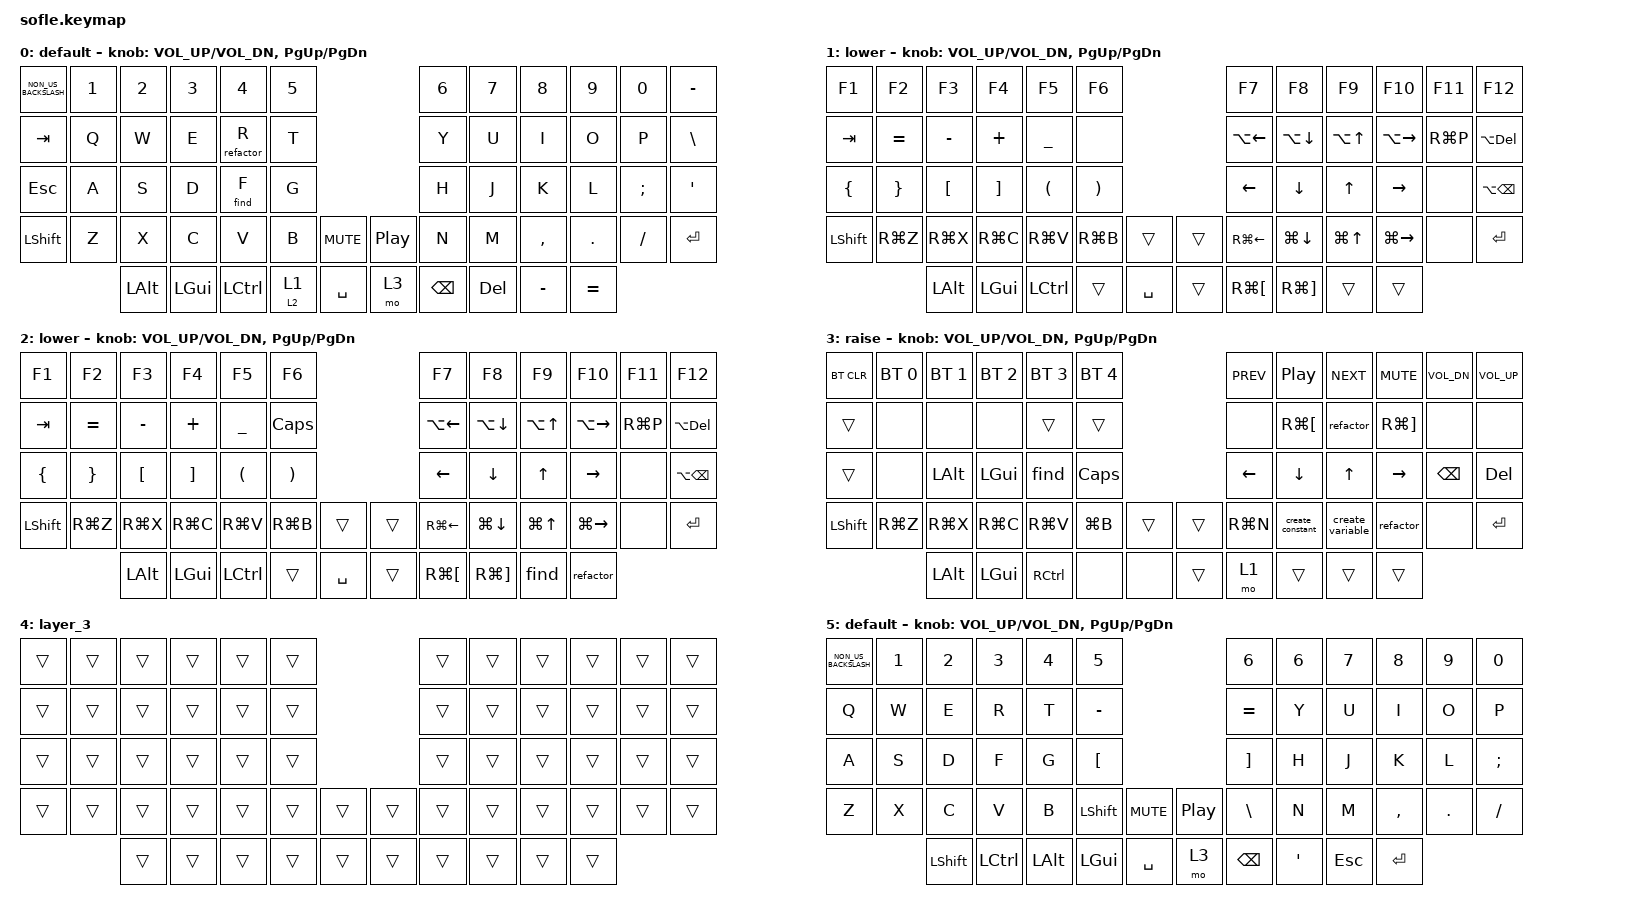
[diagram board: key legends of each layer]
/*
 * Copyright (c) 2020 The ZMK Contributors
 *
 * SPDX-License-Identifier: MIT
 */

#include <behaviors.dtsi>
#include <dt-bindings/zmk/bt.h>
#include <dt-bindings/zmk/keys.h>

#define BASE 0
#define LOWER 1
#define RAISE 2
#define ADJUST 3

/ {
    // Activate ADJUST layer by pressing raise and lower

    conditional_layers {
        compatible = "zmk,conditional-layers";

        adjust_layer {
            if-layers = <1 3>;
            then-layer = <4>;
        };
    };

    macros {
        refactor: refactor {
            compatible = "zmk,behavior-macro";
            #binding-cells = <0>;
            bindings = <&kp GLOBE &kp LS(F6)>;
            label = "REFACTOR";
        };

        find: find {
            compatible = "zmk,behavior-macro";
            #binding-cells = <0>;
            bindings = <&kp RIGHT_GUI &kp LEFT_SHIFT &kp F>;
            label = "FIND";
        };

        create_constant: create_constant {
            compatible = "zmk,behavior-macro";
            #binding-cells = <0>;
            bindings = <&kp LEFT_GUI &kp LEFT_ALT &kp C>;
            label = "CREATE_CONSTANT";
        };

        create_variable: create_variable {
            compatible = "zmk,behavior-macro";
            #binding-cells = <0>;
            bindings = <&kp LEFT_GUI &kp LEFT_ALT &kp V>;
            label = "CREATE_VARIABLE";
        };
    };

    behaviors {
        tap_or_hold: tap_or_hold {
            compatible = "zmk,behavior-hold-tap";
            label = "TAP_OR_HOLD";
            bindings = <&mo>, <&mo>;

            #binding-cells = <2>;
            hold-trigger-key-positions = <53>;
            tapping-term-ms = <2000>;
        };

        behavior_tap_hold_key: behavior_tap_hold_key {
            compatible = "zmk,behavior-hold-tap";
            label = "BEHAVIOR_TAP_HOLD_KEY";
            bindings = <&kp>, <&kp>;

            #binding-cells = <2>;
            tapping-term-ms = <2000>;
        };

        kp_and_refactor: kp_and_refactor {
            compatible = "zmk,behavior-hold-tap";
            label = "KP_AND_REFACTOR";
            bindings = <&refactor>, <&kp>;

            #binding-cells = <2>;
            hold-trigger-key-positions = <16>;
            tapping-term-ms = <2000>;
        };

        behavior_find: behavior_find {
            compatible = "zmk,behavior-hold-tap";
            label = "BEHAVIOR_FIND";
            bindings = <&find>, <&kp>;

            #binding-cells = <2>;
            hold-trigger-key-positions = <28>;
            tapping-term-ms = <2000>;
        };

        create_function: create_function {
            compatible = "zmk,behavior-hold-tap";
            label = "CREATE_FUNCTION";
            bindings = <&kp>, <&kp>;

            #binding-cells = <2>;
            hold-trigger-key-positions = <45>;
            tapping-term-ms = <2000>;
        };
    };

    keymap {
        compatible = "zmk,keymap";

        default_layer {
            display-name = "default";

            // ------------------------------------------------------------------------------------------------------------
            // |   `   |  1  |  2  |  3   |  4   |  5   |                   |  6   |  7    |  8    |  9   |   0   |       |
            // |  ESC  |  Q  |  W  |  E   |  R   |  T   |                   |  Y   |  U    |  I    |  O   |   P   | BKSPC |
            // |  TAB  |  A  |  S  |  D   |  F   |  G   |                   |  H   |  J    |  K    |  L   |   ;   |   '   |
            // | SHIFT |  Z  |  X  |  C   |  V   |  B   |  MUTE  |  |       |  N   |  M    |  ,    |  .   |   /   | SHIFT |
            //               | GUI | ALT  | CTRL | LOWER|  ENTER |  | SPACE | RAISE| CTRL  | ALT   | GUI  |

            bindings = <
&kp NON_US_BACKSLASH  &kp N1  &kp N2        &kp N3    &kp N4                &kp N5                                    &kp N6         &kp N7      &kp N8     &kp N9     &kp N0    &kp MINUS
&kp TAB               &kp Q   &kp W         &kp E     &kp_and_refactor 0 R  &kp T                                     &kp Y          &kp U       &kp I      &kp O      &kp P     &kp BACKSLASH
&kp ESC               &kp A   &kp S         &kp D     &behavior_find 0 F    &kp G                                     &kp H          &kp J       &kp K      &kp L      &kp SEMI  &kp SQT
&kp LSHFT             &kp Z   &kp X         &kp C     &kp V                 &kp B             &kp C_MUTE    &kp C_PP  &kp N          &kp M       &kp COMMA  &kp DOT    &kp FSLH  &kp ENTER
                              &kp LEFT_ALT  &kp LGUI  &kp LCTRL             &tap_or_hold 2 1  &kp SPACE     &mo 3     &kp BACKSPACE  &kp DELETE  &kp MINUS  &kp EQUAL
            >;

            sensor-bindings = <&inc_dec_kp C_VOL_UP C_VOL_DN &inc_dec_kp PG_UP PG_DN>;
        };

        navigation {
            display-name = "lower";

            // TODO: Some binds are waiting for shifted keycode support.
            // ------------------------------------------------------------------------------------------------------------
            // |       |  F1 |  F2 |  F3  |  F4  |  F5  |                   |  F6  |  F7   |  F8   |  F9  |  F10  |  F11  |
            // |   `   |  1  |  2  |  3   |  4   |  5   |                   |  6   |  7    |  8    |  9   |   0   |  F12  |
            // |       |  !  |  @  |  #   |  $   |  %   |                   |  ^   |  &    |  *    |  (   |   )   |   |   |
            // |       |  =  |  -  |  +   |  {   |  }   |        |  |       |  [   |  ]    |  ;    |  :   |   \   |       |
            //               |     |      |      |      |        |  |       |      |       |       |      |

            bindings = <
&kp F1          &kp F2           &kp F3            &kp F4             &kp F5                &kp F6                                      &kp F7                &kp F8                 &kp F9            &kp F10              &kp F11    &kp F12
&kp TAB         &kp EQUAL        &kp MINUS         &kp PLUS           &kp UNDERSCORE        &none                                       &kp LA(LEFT)          &kp LA(DOWN_ARROW)     &kp LA(UP_ARROW)  &kp LA(RIGHT)        &kp RG(P)  &kp LA(DELETE)
&kp LEFT_BRACE  &kp RIGHT_BRACE  &kp LEFT_BRACKET  &kp RIGHT_BRACKET  &kp LEFT_PARENTHESIS  &kp RIGHT_PARENTHESIS                       &kp LEFT              &kp DOWN               &kp UP_ARROW      &kp RIGHT            &none      &kp LA(BACKSPACE)
&kp LEFT_SHIFT  &kp RG(Z)        &kp RG(X)         &kp RG(C)          &kp RG(V)             &kp RG(B)              &trans       &trans  &kp RG(LEFT)          &kp LG(DOWN_ARROW)     &kp LG(UP_ARROW)  &kp LG(RIGHT_ARROW)  &none      &kp ENTER
                                 &kp LEFT_ALT      &kp LEFT_GUI       &kp LCTRL             &trans                 &kp SPACE    &trans  &kp RG(LEFT_BRACKET)  &kp RG(RIGHT_BRACKET)  &trans            &trans
            >;

            sensor-bindings = <&inc_dec_kp C_VOL_UP C_VOL_DN &inc_dec_kp PG_UP PG_DN>;
        };

        special_char {
            display-name = "lower";
            bindings = <
&kp F1          &kp F2           &kp F3            &kp F4             &kp F5                &kp F6                                      &kp F7                &kp F8                 &kp F9            &kp F10              &kp F11    &kp F12
&kp TAB         &kp EQUAL        &kp MINUS         &kp PLUS           &kp UNDERSCORE        &kp CAPS                                    &kp LA(LEFT)          &kp LA(DOWN_ARROW)     &kp LA(UP_ARROW)  &kp LA(RIGHT)        &kp RG(P)  &kp LA(DELETE)
&kp LEFT_BRACE  &kp RIGHT_BRACE  &kp LEFT_BRACKET  &kp RIGHT_BRACKET  &kp LEFT_PARENTHESIS  &kp RIGHT_PARENTHESIS                       &kp LEFT              &kp DOWN               &kp UP_ARROW      &kp RIGHT            &none      &kp LA(BACKSPACE)
&kp LEFT_SHIFT  &kp RG(Z)        &kp RG(X)         &kp RG(C)          &kp RG(V)             &kp RG(B)              &trans       &trans  &kp RG(LEFT)          &kp LG(DOWN_ARROW)     &kp LG(UP_ARROW)  &kp LG(RIGHT_ARROW)  &none      &kp ENTER
                                 &kp LEFT_ALT      &kp LEFT_GUI       &kp LCTRL             &trans                 &kp SPACE    &trans  &kp RG(LEFT_BRACKET)  &kp RG(RIGHT_BRACKET)  &find             &refactor
            >;

            sensor-bindings =
                <&inc_dec_kp C_VOL_UP C_VOL_DN>,
                <&inc_dec_kp PG_UP PG_DN>;
        };

        raise_layer {
            display-name = "raise";

            // ------------------------------------------------------------------------------------------------------------
            // | BTCLR | BT1  | BT2  |  BT3  |  BT4  |  BT5 |                |      |      |       |      |       |       |
            // |       | INS  | PSCR | GUI   |       |      |                | PGUP |      |   ^   |      |       |       |
            // |       | ALT  | CTRL | SHIFT |       | CAPS |                | PGDN |   <- |   v   |  ->  |  DEL  | BKSPC |
            // |       | UNDO | CUT  | COPY  | PASTE |      |      |  |      |      |      |       |      |       |       |
            //                |      |       |       |      |      |  |      |      |      |       |      |

            bindings = <
&bt BT_CLR      &bt BT_SEL 0  &bt BT_SEL 1  &bt BT_SEL 2  &bt BT_SEL 3  &bt BT_SEL 4                    &kp C_PREV      &kp C_PLAY_PAUSE      &kp C_NEXT        &kp K_MUTE             &kp C_VOL_DN   &kp C_VOLUME_UP
&trans          &none         &none         &none         &trans        &trans                          &none           &kp RG(LEFT_BRACKET)  &refactor         &kp RG(RIGHT_BRACKET)  &none          &none
&trans          &none         &kp LEFT_ALT  &kp LEFT_GUI  &find         &kp CLCK                        &kp LEFT_ARROW  &kp DOWN_ARROW        &kp UP_ARROW      &kp RIGHT              &kp BACKSPACE  &kp DELETE
&kp LEFT_SHIFT  &kp RG(Z)     &kp RG(X)     &kp RG(C)     &kp RG(V)     &kp LG(B)     &trans    &trans  &kp RG(N)       &create_constant      &create_variable  &refactor              &none          &kp ENTER
                              &kp LEFT_ALT  &kp LEFT_GUI  &kp RCTRL     &none         &none     &trans  &mo 1           &trans                &trans            &trans
            >;

            sensor-bindings = <&inc_dec_kp C_VOL_UP C_VOL_DN &inc_dec_kp PG_UP PG_DN>;
        };

        layer_3 {
            bindings = <
&trans  &trans  &trans  &trans  &trans  &trans                    &trans  &trans  &trans  &trans  &trans  &trans
&trans  &trans  &trans  &trans  &trans  &trans                    &trans  &trans  &trans  &trans  &trans  &trans
&trans  &trans  &trans  &trans  &trans  &trans                    &trans  &trans  &trans  &trans  &trans  &trans
&trans  &trans  &trans  &trans  &trans  &trans  &trans    &trans  &trans  &trans  &trans  &trans  &trans  &trans
                &trans  &trans  &trans  &trans  &trans    &trans  &trans  &trans  &trans  &trans
            >;
        };

        layer_6 {
            display-name = "default";
            bindings = <
&kp NON_US_BACKSLASH  &kp N1  &kp N2          &kp N3     &kp N4        &kp N5                                    &kp N6             &kp NUMBER_6  &kp N7      &kp N8     &kp N9      &kp N0
&kp Q                 &kp W   &kp E           &kp R      &kp T         &kp MINUS                                 &kp EQUAL          &kp Y         &kp U       &kp I      &kp O       &kp P
&kp A                 &kp S   &kp D           &kp F      &kp G         &kp LEFT_BRACKET                          &kp RIGHT_BRACKET  &kp H         &kp J       &kp K      &kp L       &kp SEMICOLON
&kp Z                 &kp X   &kp C           &kp V      &kp B         &kp LEFT_SHIFT    &kp C_MUTE    &kp C_PP  &kp BACKSLASH      &kp N         &kp M       &kp COMMA  &kp PERIOD  &kp SLASH
                              &kp LEFT_SHIFT  &kp LCTRL  &kp LEFT_ALT  &kp LEFT_GUI      &kp SPACE     &mo 3     &kp BACKSPACE      &kp SQT       &kp ESCAPE  &kp ENTER
            >;

            sensor-bindings =
                <&inc_dec_kp C_VOL_UP C_VOL_DN>,
                <&inc_dec_kp PG_UP PG_DN>;
        };
    };
};
